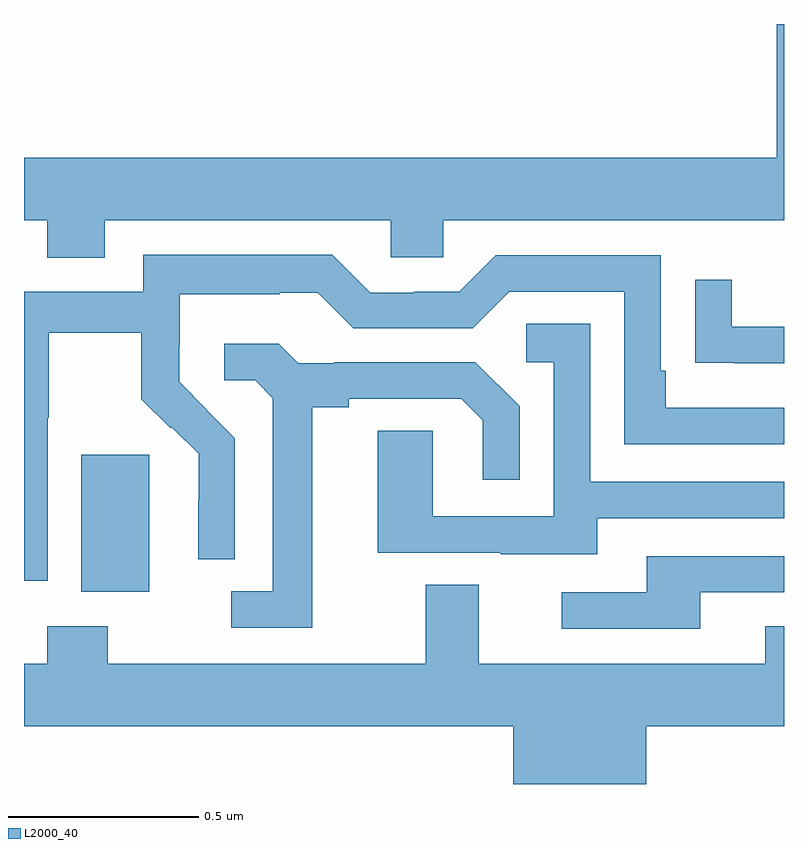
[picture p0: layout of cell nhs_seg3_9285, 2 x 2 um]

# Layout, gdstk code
import gdstk
lib = gdstk.Library(unit=1e-6, precision=1e-09)
def R(c, l, rs):  # rectangles x0, y0, x1, y1
    for r in rs: c.add(gdstk.rectangle(r[:2], r[2:], *l))
def P(c, l, *ps):  # polygons
    for p in ps: c.add(gdstk.Polygon(p, *l))
L2000_40 = (2000, 40)

nhs_seg3_9285 = lib.new_cell('nhs_seg3_9285')
R(nhs_seg3_9285, L2000_40, [(226.151,731.906,226.33,732.267)])
P(nhs_seg3_9285, L2000_40, [(226.213,732.884),(226.965,732.884),(226.965,732.786),(227.103,732.786),(227.103,732.884),(228,732.884),(228,733.4),(227.981,733.4),(227.981,733.048),(226,733.048),(226,732.884),(226.061,732.884),(226.061,732.785),(226.213,732.785)],
  [(226.062,732.364),(226.065,732.364),(226.065,732.588),(226.309,732.588),(226.309,732.413),(226.386,732.336),(226.389,732.339),(226.46,732.269),(226.46,732.146),(226.458,732.146),(226.458,731.992),(226.554,731.992),(226.554,732.31),(226.481,732.383),(226.482,732.384),(226.408,732.458),(226.408,732.555),(226.41,732.555),(226.41,732.689),(226.673,732.689),(226.673,732.693),(226.773,732.693),(226.866,732.6),(227.181,732.6),(227.277,732.696),(227.58,732.696),(227.58,732.294),(228,732.294),(228,732.39),(227.689,732.39),(227.689,732.487),(227.676,732.487),(227.676,732.792),(227.241,732.792),(227.145,732.696),(227.027,732.696),(227.027,732.693),(226.911,732.693),(226.811,732.793),(226.314,732.793),(226.314,732.696),(226,732.696),(226,731.935),(226.062,731.935)],
  [(228,732.603),(227.863,732.603),(227.863,732.727),(227.767,732.727),(227.767,732.508),(227.869,732.508),(227.869,732.507),(228,732.507)],
  [(227.509,732.099),(228,732.099),(228,732.195),(227.49,732.195),(227.49,732.611),(227.322,732.611),(227.322,732.51),(227.394,732.51),(227.394,732.105),(227.076,732.105),(227.076,732.329),(226.931,732.329),(226.931,732.009),(227.255,732.009),(227.255,732.005),(227.509,732.005)],
  [(226.759,732.392),(226.855,732.392),(226.855,732.414),(227.15,732.414),(227.207,732.357),(227.207,732.201),(227.304,732.201),(227.304,732.394),(227.188,732.51),(226.816,732.51),(226.816,732.507),(226.722,732.507),(226.67,732.559),(226.527,732.559),(226.527,732.462),(226.608,732.462),(226.655,732.415),(226.655,731.907),(226.545,731.907),(226.545,731.811),(226.759,731.811)],
  [(227.779,731.904),(228,731.904),(228,732),(227.639,732),(227.639,731.904),(227.415,731.904),(227.415,731.808),(227.779,731.808)],
  [(227.638,731.552),(228,731.552),(228,731.815),(227.951,731.815),(227.951,731.716),(227.197,731.716),(227.197,731.924),(227.057,731.924),(227.057,731.716),(226.221,731.716),(226.221,731.815),(226.061,731.815),(226.061,731.716),(226,731.716),(226,731.552),(227.288,731.552),(227.288,731.4),(227.638,731.4)])

lib.write_gds('nhs_seg3_9285.gds')
